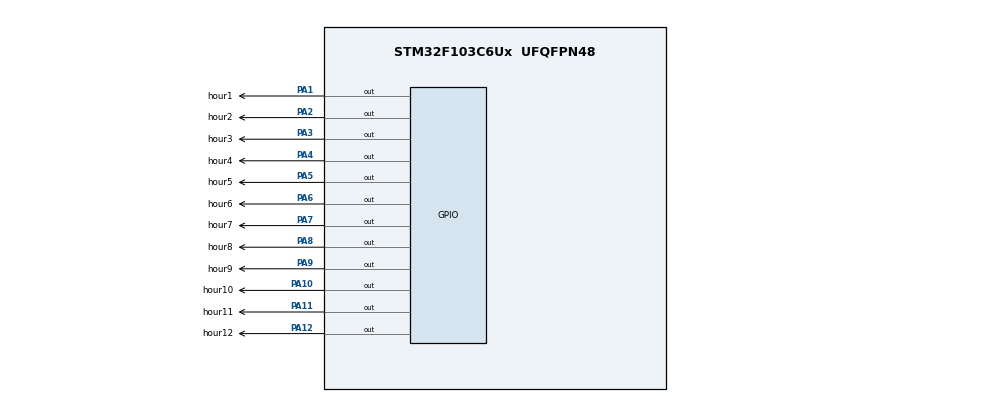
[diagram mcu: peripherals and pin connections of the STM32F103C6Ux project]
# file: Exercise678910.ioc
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Mcu.Family=STM32F1
Mcu.Name=STM32F103C6Ux
Mcu.Package=UFQFPN48
NVIC.PriorityGroup=NVIC_PRIORITYGROUP_4
PA1.GPIO_Label=hour1
PA1.Signal=GPIO_Output
PA10.GPIO_Label=hour10
PA10.Signal=GPIO_Output
PA11.GPIO_Label=hour11
PA11.Signal=GPIO_Output
PA12.GPIO_Label=hour12
PA12.Signal=GPIO_Output
PA2.GPIO_Label=hour2
PA2.Signal=GPIO_Output
PA3.GPIO_Label=hour3
PA3.Signal=GPIO_Output
PA4.GPIO_Label=hour4
PA4.Signal=GPIO_Output
PA5.GPIO_Label=hour5
PA5.Signal=GPIO_Output
PA6.GPIO_Label=hour6
PA6.Signal=GPIO_Output
PA7.GPIO_Label=hour7
PA7.Signal=GPIO_Output
PA8.GPIO_Label=hour8
PA8.Signal=GPIO_Output
PA9.GPIO_Label=hour9
PA9.Signal=GPIO_Output
ProjectManager.HeapSize=0x200
ProjectManager.StackSize=0x400
ProjectManager.TargetToolchain=STM32CubeIDE
RCC.APB1Freq_Value=8000000
RCC.APB2Freq_Value=8000000
board=custom

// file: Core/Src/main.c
/* USER CODE BEGIN Header */
/**
  ******************************************************************************
  * @file           : main.c
  * @brief          : Main program body
  ******************************************************************************
  * @attention
  *
  * Copyright (c) 2022 STMicroelectronics.
  * All rights reserved.
  *
  * This software is licensed under terms that can be found in the LICENSE file
  * in the root directory of this software component.
  * If no LICENSE file comes with this software, it is provided AS-IS.
  *
  ******************************************************************************
  */
/* USER CODE END Header */
#include "main.h"

void SystemClock_Config(void);
static void MX_GPIO_Init(void);

/* USER CODE BEGIN 0 */
void clearAllClock() {
	HAL_GPIO_WritePin(hour1_GPIO_Port, hour1_Pin, RESET);
	HAL_GPIO_WritePin(hour2_GPIO_Port, hour2_Pin, RESET);
	HAL_GPIO_WritePin(hour3_GPIO_Port, hour3_Pin, RESET);
	HAL_GPIO_WritePin(hour4_GPIO_Port, hour4_Pin, RESET);
	HAL_GPIO_WritePin(hour5_GPIO_Port, hour5_Pin, RESET);
	HAL_GPIO_WritePin(hour6_GPIO_Port, hour6_Pin, RESET);
	HAL_GPIO_WritePin(hour7_GPIO_Port, hour7_Pin, RESET);
	HAL_GPIO_WritePin(hour8_GPIO_Port, hour8_Pin, RESET);
	HAL_GPIO_WritePin(hour9_GPIO_Port, hour9_Pin, RESET);
	HAL_GPIO_WritePin(hour10_GPIO_Port, hour10_Pin, RESET);
	HAL_GPIO_WritePin(hour11_GPIO_Port, hour11_Pin, RESET);
	HAL_GPIO_WritePin(hour12_GPIO_Port, hour12_Pin, RESET);
}
void setNumberOnClock(int num) {
	switch(num) {
		case 1:
			HAL_GPIO_WritePin(hour1_GPIO_Port, hour1_Pin, SET);
			break;
		case 2:
			HAL_GPIO_WritePin(hour2_GPIO_Port, hour2_Pin, SET);
			break;
		case 3:
			HAL_GPIO_WritePin(hour3_GPIO_Port, hour3_Pin, SET);
			break;
		case 4:
			HAL_GPIO_WritePin(hour4_GPIO_Port, hour4_Pin, SET);
			break;
		case 5:
			HAL_GPIO_WritePin(hour5_GPIO_Port, hour5_Pin, SET);
			break;
		case 6:
			HAL_GPIO_WritePin(hour6_GPIO_Port, hour6_Pin, SET);
			break;
		case 7:
			HAL_GPIO_WritePin(hour7_GPIO_Port, hour7_Pin, SET);
			break;
		case 8:
			HAL_GPIO_WritePin(hour8_GPIO_Port, hour8_Pin, SET);
			break;
		case 9:
			HAL_GPIO_WritePin(hour9_GPIO_Port, hour9_Pin, SET);
			break;
		case 10:
			HAL_GPIO_WritePin(hour10_GPIO_Port, hour10_Pin, SET);
			break;
		case 11:
			HAL_GPIO_WritePin(hour11_GPIO_Port, hour11_Pin, SET);
			break;
		case 0:
			HAL_GPIO_WritePin(hour12_GPIO_Port, hour12_Pin, SET);
			break;
		default:
			break;
	}
}
void clearNumberOnClock(int num) {
	switch(num) {
			case 1:
				HAL_GPIO_WritePin(hour1_GPIO_Port, hour1_Pin, RESET);
				break;
			case 2:
				HAL_GPIO_WritePin(hour2_GPIO_Port, hour2_Pin, RESET);
				break;
			case 3:
				HAL_GPIO_WritePin(hour3_GPIO_Port, hour3_Pin, RESET);
				break;
			case 4:
				HAL_GPIO_WritePin(hour4_GPIO_Port, hour4_Pin, RESET);
				break;
			case 5:
				HAL_GPIO_WritePin(hour5_GPIO_Port, hour5_Pin, RESET);
				break;
			case 6:
				HAL_GPIO_WritePin(hour6_GPIO_Port, hour6_Pin, RESET);
				break;
			case 7:
				HAL_GPIO_WritePin(hour7_GPIO_Port, hour7_Pin, RESET);
				break;
			case 8:
				HAL_GPIO_WritePin(hour8_GPIO_Port, hour8_Pin, RESET);
				break;
			case 9:
				HAL_GPIO_WritePin(hour9_GPIO_Port, hour9_Pin, RESET);
				break;
			case 10:
				HAL_GPIO_WritePin(hour10_GPIO_Port, hour10_Pin, RESET);
				break;
			case 11:
				HAL_GPIO_WritePin(hour11_GPIO_Port, hour11_Pin, RESET);
				break;
			case 0:
				HAL_GPIO_WritePin(hour12_GPIO_Port, hour12_Pin, RESET);
				break;
			default:
				break;
		}
}
/* USER CODE END 0 */

int main(void)
{

  /* MCU Configuration--------------------------------------------------------*/

  /* Reset of all peripherals, Initializes the Flash interface and the Systick. */
  HAL_Init();

  /* Configure the system clock */
  SystemClock_Config();

  /* Initialize all configured peripherals */
  MX_GPIO_Init();

  /* Infinite loop */
  /* USER CODE BEGIN WHILE */
  int hour = 0, minutes = 0, seconds = 0;
  while (1)
  {
    /* USER CODE END WHILE */

    /* USER CODE BEGIN 3 */
	  seconds++;

	  if(seconds == 60) {
		  seconds = 0;
		  minutes += 1;
	  }
	  if(minutes == 60) {
		  minutes = 0;
		  hour += 1;
	  }
	  if(hour == 12) {
		  hour = 0;
	  }
	  clearAllClock();
	  setNumberOnClock(hour);
	  setNumberOnClock(minutes / 5);
	  setNumberOnClock(seconds / 5);

	  HAL_Delay(50);

  }
  /* USER CODE END 3 */
}

void SystemClock_Config(void)
{
  RCC_OscInitTypeDef RCC_OscInitStruct = {0};
  RCC_ClkInitTypeDef RCC_ClkInitStruct = {0};

  /** Initializes the RCC Oscillators according to the specified parameters
  * in the RCC_OscInitTypeDef structure.
  */
  RCC_OscInitStruct.OscillatorType = RCC_OSCILLATORTYPE_HSI;
  RCC_OscInitStruct.HSIState = RCC_HSI_ON;
  RCC_OscInitStruct.HSICalibrationValue = RCC_HSICALIBRATION_DEFAULT;
  RCC_OscInitStruct.PLL.PLLState = RCC_PLL_NONE;
  if (HAL_RCC_OscConfig(&RCC_OscInitStruct) != HAL_OK)
  {
    Error_Handler();
  }

  /** Initializes the CPU, AHB and APB buses clocks
  */
  RCC_ClkInitStruct.ClockType = RCC_CLOCKTYPE_HCLK|RCC_CLOCKTYPE_SYSCLK
                              |RCC_CLOCKTYPE_PCLK1|RCC_CLOCKTYPE_PCLK2;
  RCC_ClkInitStruct.SYSCLKSource = RCC_SYSCLKSOURCE_HSI;
  RCC_ClkInitStruct.AHBCLKDivider = RCC_SYSCLK_DIV1;
  RCC_ClkInitStruct.APB1CLKDivider = RCC_HCLK_DIV1;
  RCC_ClkInitStruct.APB2CLKDivider = RCC_HCLK_DIV1;

  if (HAL_RCC_ClockConfig(&RCC_ClkInitStruct, FLASH_LATENCY_0) != HAL_OK)
  {
    Error_Handler();
  }
}

static void MX_GPIO_Init(void)
{
  GPIO_InitTypeDef GPIO_InitStruct = {0};

  /* GPIO Ports Clock Enable */
  __HAL_RCC_GPIOA_CLK_ENABLE();

  /*Configure GPIO pin Output Level */
  HAL_GPIO_WritePin(GPIOA, hour1_Pin|hour2_Pin|hour3_Pin|hour4_Pin
                          |hour5_Pin|hour6_Pin|hour7_Pin|hour8_Pin
                          |hour9_Pin|hour10_Pin|hour11_Pin|hour12_Pin, GPIO_PIN_RESET);

  /*Configure GPIO pins : hour1_Pin hour2_Pin hour3_Pin hour4_Pin
                           hour5_Pin hour6_Pin hour7_Pin hour8_Pin
                           hour9_Pin hour10_Pin hour11_Pin hour12_Pin */
  GPIO_InitStruct.Pin = hour1_Pin|hour2_Pin|hour3_Pin|hour4_Pin
                          |hour5_Pin|hour6_Pin|hour7_Pin|hour8_Pin
                          |hour9_Pin|hour10_Pin|hour11_Pin|hour12_Pin;
  GPIO_InitStruct.Mode = GPIO_MODE_OUTPUT_PP;
  GPIO_InitStruct.Pull = GPIO_NOPULL;
  GPIO_InitStruct.Speed = GPIO_SPEED_FREQ_LOW;
  HAL_GPIO_Init(GPIOA, &GPIO_InitStruct);

}

void Error_Handler(void)
{
  __disable_irq();
  while (1)
  {
  }
}
